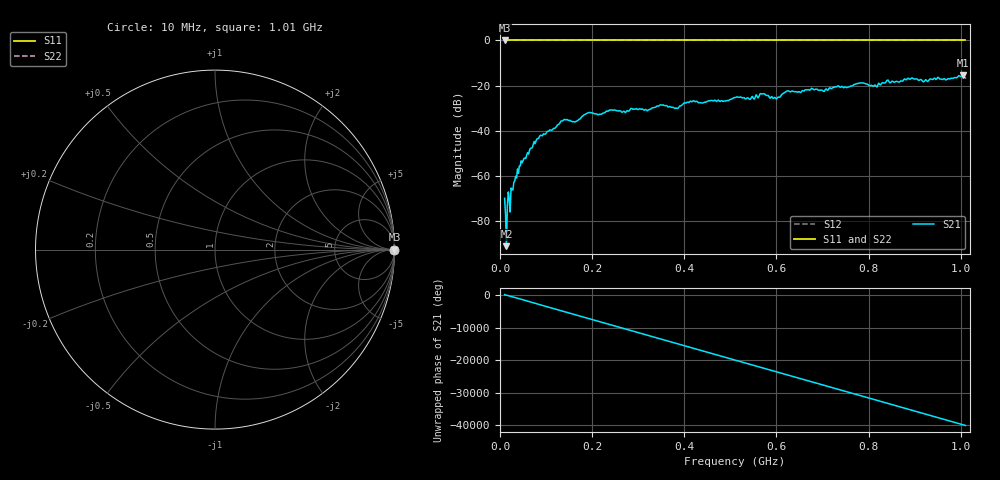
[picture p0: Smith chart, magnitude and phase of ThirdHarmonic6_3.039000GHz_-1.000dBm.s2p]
! 8/17/2025 8:47:50 AM
! C:\ANRITSUVNA\TEMP\TEMP.S2P
! CHANNEL.1
! TR.MEASUREMENT
! RAW.DATA
! RF.CORRECTION.OFF
! AVERAGING.OFF
! IF.BANDWIDTH: 5KHZ
! SWEEPTYPE:  FREQ.SWEEP(Linear)
! Reference Plane Port Info
! PORT:  PORT1  PORT2
! DISTANCE:  0  m  0  m
! TIME:  0  s  0  s
! PHASE.OFFSET:  0  deg.  0  deg.
! LOSS:  0  dB  0  dB
! REF.LOSS:  0  dB  0  dB
! REF.FREQ:  0  Hz  0  Hz
! Power Info
! POWER:  -20  dBm  -20  dBm
! EFF.POWER:  -20  dBm  -20  dBm
! SOURCE.ATTEN:  0  dB  0  dB
! TEST.ATTEN:  0  dB  0  dB
# GHZ S RI R 50.0
! FREQ.GHZ  S11RE  S11IM  S21RE  S21IM  S12RE  S12IM  S22RE  S22IM
!; PortSelection: Port_12
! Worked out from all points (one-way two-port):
!   501 points, 10 MHz to 1.01 GHz, reference 50 ohm
!   highest |S21| = -15.45 dB at 1.004 GHz (marker M1); lowest = -91.3 dB at 14 MHz (marker M2)
!   lowest |S11| = 0.0 dB at 10 MHz (marker M3)
!   |S11| at or under -10 dB: nowhere
!   |S22| runs from 0.0 to 0.0 dB; largest |S21 - S12| = 1.2
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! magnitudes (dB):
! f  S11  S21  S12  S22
! 10 MHz  0.0  -70.1  0.0  0.0
! 14 MHz  0.0  -91.3  0.0  0.0
! 18 MHz  0.0  -67.2  0.0  0.0
! 28 MHz  0.0  -66.3  0.0  0.0
! 42 MHz  0.0  -55.7  0.0  0.0
! 84 MHz  0.0  -43.4  0.0  0.0
! 136 MHz  0.0  -35.7  0.0  0.0
! 162 MHz  0.0  -36.2  0.0  0.0
! 178 MHz  0.0  -33.7  0.0  0.0
! 344 MHz  0.0  -29.2  0.0  0.0
! 382 MHz  0.0  -30.0  0.0  0.0
! 416 MHz  0.0  -27.2  0.0  0.0
! 510 MHz  0.0  -25.3  0.0  0.0
! 570 MHz  0.0  -23.7  0.0  0.0
! 598 MHz  0.0  -25.5  0.0  0.0
! 622 MHz  0.0  -22.5  0.0  0.0
! 678 MHz  0.0  -21.4  0.0  0.0
! 784 MHz  0.0  -18.9  0.0  0.0
! 814 MHz  0.0  -19.8  0.0  0.0
! 844 MHz  0.0  -18.2  0.0  0.0
! 1.004 GHz  0.0  -15.4  0.0  0.0
! 1.01 GHz  0.0  -16.6  0.0  0.0
